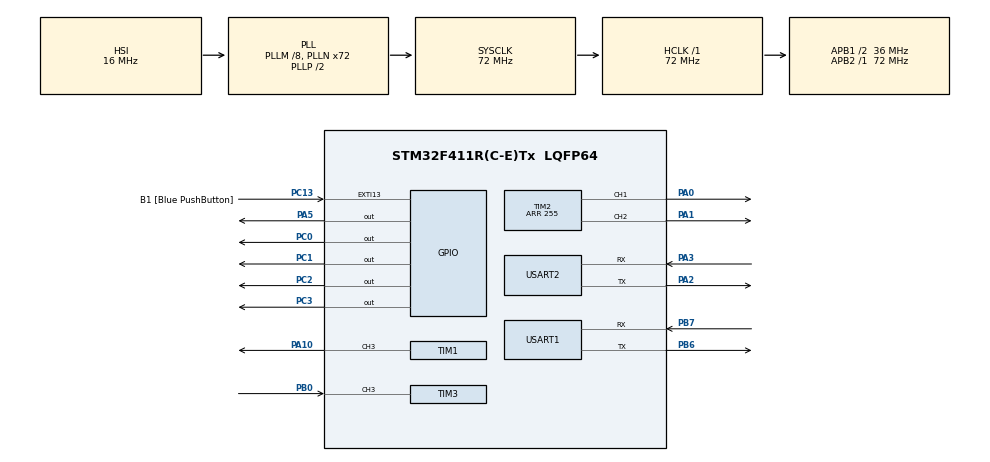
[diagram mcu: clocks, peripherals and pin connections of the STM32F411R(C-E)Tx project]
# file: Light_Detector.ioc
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Mcu.Family=STM32F4
Mcu.Name=STM32F411R(C-E)Tx
Mcu.Package=LQFP64
NVIC.PriorityGroup=NVIC_PRIORITYGROUP_0
NVIC.TIM3_IRQn=true\:0\:0\:false\:false\:true\:true\:true
PA0-WKUP.Signal=S_TIM2_CH1_ETR
PA1.Signal=S_TIM2_CH2
PA10.Signal=S_TIM1_CH3
PA13.GPIO_Label=TMS
PA13.Mode=Serial_Wire
PA13.Signal=SYS_JTMS-SWDIO
PA14.GPIO_Label=TCK
PA14.Mode=Serial_Wire
PA14.Signal=SYS_JTCK-SWCLK
PA2.Mode=Asynchronous
PA2.Signal=USART2_TX
PA3.Mode=Asynchronous
PA3.Signal=USART2_RX
PA5.Signal=GPIO_Output
PB0.Signal=S_TIM3_CH3
PB3.GPIO_Label=SWO
PB3.Signal=SYS_JTDO-SWO
PB6.Mode=Asynchronous
PB6.Signal=USART1_TX
PB7.Mode=Asynchronous
PB7.Signal=USART1_RX
PB9.Signal=S_TIM4_CH4
PC0.Signal=GPIO_Output
PC1.Signal=GPIO_Output
PC13-ANTI_TAMP.GPIO_Label=B1 [Blue PushButton]
PC13-ANTI_TAMP.GPIO_ModeDefaultEXTI=GPIO_MODE_IT_FALLING
PC13-ANTI_TAMP.Signal=GPXTI13
PC2.Signal=GPIO_Output
PC3.Signal=GPIO_Output
ProjectManager.HeapSize=0x200
ProjectManager.StackSize=0x400
ProjectManager.TargetToolchain=STM32CubeIDE
RCC.48MHZClocksFreq_Value=36000000
RCC.AHBFreq_Value=72000000
RCC.APB1CLKDivider=RCC_HCLK_DIV2
RCC.APB1Freq_Value=36000000
RCC.APB1TimFreq_Value=72000000
RCC.APB2Freq_Value=72000000
RCC.APB2TimFreq_Value=72000000
RCC.CortexFreq_Value=72000000
RCC.FLatency-AdvancedSettings=FLASH_LATENCY_2
RCC.HCLKFreq_Value=72000000
RCC.HSE_VALUE=8000000
RCC.HSI_VALUE=16000000
RCC.LSE_VALUE=32768
RCC.PLLM=8
RCC.PLLN=72
RCC.SYSCLKFreq_VALUE=72000000
RCC.SYSCLKSource=RCC_SYSCLKSOURCE_PLLCLK
RCC.VCOOutputFreq_Value=144000000
SH.S_TIM1_CH3.0=TIM1_CH3,PWM Generation3 CH3
SH.S_TIM2_CH1_ETR.0=TIM2_CH1,PWM Generation1 CH1
SH.S_TIM2_CH2.0=TIM2_CH2,PWM Generation2 CH2
SH.S_TIM3_CH3.0=TIM3_CH3,Input_Capture3_from_TI3
SH.S_TIM4_CH4.0=TIM4_CH4
TIM1.Channel-PWM\ Generation3\ CH3=TIM_CHANNEL_3
TIM1.Period=255
TIM2.Channel-PWM\ Generation1\ CH1=TIM_CHANNEL_1
TIM2.Channel-PWM\ Generation2\ CH2=TIM_CHANNEL_2
TIM2.Period=255
TIM3.AutoReloadPreload=TIM_AUTORELOAD_PRELOAD_ENABLE
TIM3.Channel-Input_Capture3_from_TI3=TIM_CHANNEL_3
USART1.VirtualMode=VM_ASYNC
USART1.WordLength=WORDLENGTH_8B
USART2.VirtualMode=VM_ASYNC
VP_TIM1_VS_ClockSourceINT.Mode=Internal
VP_TIM2_VS_ClockSourceINT.Mode=Internal
VP_TIM3_VS_ClockSourceINT.Mode=Internal
board=NUCLEO-F411RE

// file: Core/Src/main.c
/* USER CODE BEGIN Header */
/**
  ******************************************************************************
  * @file           : main.c
  * @brief          : Main program body
  ******************************************************************************
  * @attention
  *
  * <h2><center>&copy; Copyright (c) 2021 STMicroelectronics.
  * All rights reserved.</center></h2>
  *
  * This software component is licensed by ST under BSD 3-Clause license,
  * the "License"; You may not use this file except in compliance with the
  * License. You may obtain a copy of the License at:
  *                        opensource.org/licenses/BSD-3-Clause
  *
  ******************************************************************************
  */
/* USER CODE END Header */
#include "main.h"

/* USER CODE BEGIN Includes */

//#include "tcs3200.h"

/* USER CODE END Includes */

TIM_HandleTypeDef htim1;
TIM_HandleTypeDef htim2;
TIM_HandleTypeDef htim3;

UART_HandleTypeDef huart1;
UART_HandleTypeDef huart2;

void SystemClock_Config(void);
static void MX_GPIO_Init(void);
static void MX_TIM2_Init(void);
static void MX_TIM1_Init(void);
static void MX_USART1_UART_Init(void);
static void MX_USART2_UART_Init(void);
static void MX_TIM3_Init(void);

/* USER CODE BEGIN 0 */

#define MIN_RED 14218.0
#define MAX_RED 114285.0
#define MIN_GREEN 10967.0
#define MAX_GREEN 108270.0
#define MIN_BLUE 12998.0
#define MAX_BLUE 135084.0
#define F_CLK 72000000

int ch = 0;
char buffer[100];
int colorRed, colorGreen, colorBlue;
uint32_t IC_Val1, IC_Val2, Freq;
int Is_First_Capture;

/* USER CODE END 0 */

int main(void)
{

  /* MCU Configuration--------------------------------------------------------*/

  /* Reset of all peripherals, Initializes the Flash interface and the Systick. */
  HAL_Init();

  /* Configure the system clock */
  SystemClock_Config();

  /* Initialize all configured peripherals */
  MX_GPIO_Init();
  MX_TIM2_Init();
  MX_TIM1_Init();
  MX_USART1_UART_Init();
  MX_USART2_UART_Init();
  MX_TIM3_Init();
  /* USER CODE BEGIN 2 */
  HAL_TIM_IC_Start_IT(&htim3, TIM_CHANNEL_3);

  HAL_TIM_PWM_Start(&htim2, TIM_CHANNEL_1);	//Red
  HAL_TIM_PWM_Start(&htim2, TIM_CHANNEL_2);	//Green
  HAL_TIM_PWM_Start(&htim1, TIM_CHANNEL_3);	//Blue

  //Set_Filter(Clear);
  //Set_Scaling(Scl100);

  colorRed = 0;
  colorGreen = 0;
  colorBlue = 0;

  IC_Val1 = 0;
  IC_Val2 = 0;
  Freq = 0;
  Is_First_Capture = 0;

  HAL_GPIO_WritePin(GPIOC, GPIO_PIN_0, GPIO_PIN_SET);
  HAL_GPIO_WritePin(GPIOC, GPIO_PIN_1, GPIO_PIN_SET);

  TIM2->CCR1 = 242;
  TIM2->CCR2 = 185;
  TIM1->CCR3 = 150;
  /* USER CODE END 2 */

  /* Infinite loop */
  while (1)
  {

    /* USER CODE BEGIN 3 */
	  //Reset color value
	  colorRed = 0;
	  colorGreen = 0;
	  colorBlue = 0;

	  //Get Red value
	  HAL_GPIO_WritePin(GPIOC, GPIO_PIN_2, GPIO_PIN_RESET);
	  HAL_GPIO_WritePin(GPIOC, GPIO_PIN_3, GPIO_PIN_RESET);
	  HAL_Delay(10);
	  colorRed = (255.0/(MAX_RED-MIN_RED))*(Freq-MIN_RED);

	  //Get Green Value
	  HAL_GPIO_WritePin(GPIOC, GPIO_PIN_2, GPIO_PIN_SET);
	  HAL_GPIO_WritePin(GPIOC, GPIO_PIN_3, GPIO_PIN_SET);
	  HAL_Delay(10);
	  colorGreen = (255.0/(MAX_GREEN-MIN_GREEN))*(Freq-MIN_GREEN);

	  //Get Blue Value
	  HAL_GPIO_WritePin(GPIOC, GPIO_PIN_2, GPIO_PIN_RESET);
	  HAL_GPIO_WritePin(GPIOC, GPIO_PIN_3, GPIO_PIN_SET);
	  HAL_Delay(10);
	  colorBlue = (255.0/(MAX_BLUE-MIN_BLUE))*(Freq-MIN_BLUE);

	  //Value Correction
	  if(colorRed > 255)	colorRed = 255;
	  if(colorRed < 0)		colorRed = 0;
	  if(colorGreen > 255)	colorGreen = 255;
	  if(colorGreen < 0)	colorGreen = 0;
	  if(colorBlue > 255)	colorBlue = 255;
	  if(colorBlue < 0)		colorBlue = 0;

	  TIM2->CCR1 = colorRed;
	  TIM2->CCR2 = colorGreen;
	  TIM1->CCR3 = colorBlue;

	  //sprintf(buffer, "%d,%d,%d", colorRed,colorGreen,colorBlue);
	  //HAL_UART_Transmit(&huart1, &buffer, strlen(buffer), 100);

	  if(HAL_GPIO_ReadPin(GPIOC, GPIO_PIN_13) == GPIO_PIN_RESET && ch == 0){
		  ch = 1;

		  sprintf(buffer, "%d,%d,%d", colorRed,colorGreen,colorBlue);
		  HAL_UART_Transmit(&huart1, &buffer, strlen(buffer), 100);

		  /*
		  sprintf(buffer, "%d", colorGreen);
		  HAL_UART_Transmit(&huart1, &buffer, strlen(buffer), 100);
		  sprintf(buffer, "%d", colorBlue);
		  HAL_UART_Transmit(&huart1, &buffer, strlen(buffer), 100);
			*/
		  //char c = '0';
		  //HAL_UART_Transmit(&huart1, &c, strlen(c), 100);

	  } else if (HAL_GPIO_ReadPin(GPIOC, GPIO_PIN_13) ==  GPIO_PIN_SET){
		  ch = 0;
	  }

	  //while(1){
	  // RED

	  //colorRed = Freq;
	  //HAL_Delay(100);

	  // GREEN

	  //colorGreen = Freq;
	  //HAL_Delay(100);

	  // Blue

	  //colorBlue = Freq;
	  //HAL_Delay(100);

	  /*

	  colorRed = GetColor(1);
	  colorGreen = GetColor(2);
	  colorBlue = GetColor(3);

	  //int temp = GetColor(1);
	  //sprintf(buffer, "%d\r\n", temp);

	  */
	  /*
	  for(int i = 0;i<255;i++){
		  TIM2->CCR1 = i;
		  HAL_Delay(1);
	  }
	  TIM2->CCR1 = 0;
	  TIM2->CCR2 = 0;
	  TIM1->CCR3 = 0;
	  for(int i = 0;i<255;i++){
		  TIM2->CCR2 = i;
		  HAL_Delay(1);
	  }
	  TIM2->CCR1 = 0;
	  TIM2->CCR2 = 0;
	  TIM1->CCR3 = 0;
	  for(int i = 0;i<255;i++){
		  TIM1->CCR3 = i;
		  HAL_Delay(1);
	  }
	  */

  }
  /* USER CODE END 3 */
}

void SystemClock_Config(void)
{
  RCC_OscInitTypeDef RCC_OscInitStruct = {0};
  RCC_ClkInitTypeDef RCC_ClkInitStruct = {0};

  /** Configure the main internal regulator output voltage
  */
  __HAL_RCC_PWR_CLK_ENABLE();
  __HAL_PWR_VOLTAGESCALING_CONFIG(PWR_REGULATOR_VOLTAGE_SCALE1);
  /** Initializes the RCC Oscillators according to the specified parameters
  * in the RCC_OscInitTypeDef structure.
  */
  RCC_OscInitStruct.OscillatorType = RCC_OSCILLATORTYPE_HSI;
  RCC_OscInitStruct.HSIState = RCC_HSI_ON;
  RCC_OscInitStruct.HSICalibrationValue = RCC_HSICALIBRATION_DEFAULT;
  RCC_OscInitStruct.PLL.PLLState = RCC_PLL_ON;
  RCC_OscInitStruct.PLL.PLLSource = RCC_PLLSOURCE_HSI;
  RCC_OscInitStruct.PLL.PLLM = 8;
  RCC_OscInitStruct.PLL.PLLN = 72;
  RCC_OscInitStruct.PLL.PLLP = RCC_PLLP_DIV2;
  RCC_OscInitStruct.PLL.PLLQ = 4;
  if (HAL_RCC_OscConfig(&RCC_OscInitStruct) != HAL_OK)
  {
    Error_Handler();
  }
  /** Initializes the CPU, AHB and APB buses clocks
  */
  RCC_ClkInitStruct.ClockType = RCC_CLOCKTYPE_HCLK|RCC_CLOCKTYPE_SYSCLK
                              |RCC_CLOCKTYPE_PCLK1|RCC_CLOCKTYPE_PCLK2;
  RCC_ClkInitStruct.SYSCLKSource = RCC_SYSCLKSOURCE_PLLCLK;
  RCC_ClkInitStruct.AHBCLKDivider = RCC_SYSCLK_DIV1;
  RCC_ClkInitStruct.APB1CLKDivider = RCC_HCLK_DIV2;
  RCC_ClkInitStruct.APB2CLKDivider = RCC_HCLK_DIV1;

  if (HAL_RCC_ClockConfig(&RCC_ClkInitStruct, FLASH_LATENCY_2) != HAL_OK)
  {
    Error_Handler();
  }
}

static void MX_TIM1_Init(void)
{

  TIM_ClockConfigTypeDef sClockSourceConfig = {0};
  TIM_MasterConfigTypeDef sMasterConfig = {0};
  TIM_OC_InitTypeDef sConfigOC = {0};
  TIM_BreakDeadTimeConfigTypeDef sBreakDeadTimeConfig = {0};

  htim1.Instance = TIM1;
  htim1.Init.Prescaler = 0;
  htim1.Init.CounterMode = TIM_COUNTERMODE_UP;
  htim1.Init.Period = 255;
  htim1.Init.ClockDivision = TIM_CLOCKDIVISION_DIV1;
  htim1.Init.RepetitionCounter = 0;
  htim1.Init.AutoReloadPreload = TIM_AUTORELOAD_PRELOAD_DISABLE;
  if (HAL_TIM_Base_Init(&htim1) != HAL_OK)
  {
    Error_Handler();
  }
  sClockSourceConfig.ClockSource = TIM_CLOCKSOURCE_INTERNAL;
  if (HAL_TIM_ConfigClockSource(&htim1, &sClockSourceConfig) != HAL_OK)
  {
    Error_Handler();
  }
  if (HAL_TIM_PWM_Init(&htim1) != HAL_OK)
  {
    Error_Handler();
  }
  sMasterConfig.MasterOutputTrigger = TIM_TRGO_RESET;
  sMasterConfig.MasterSlaveMode = TIM_MASTERSLAVEMODE_DISABLE;
  if (HAL_TIMEx_MasterConfigSynchronization(&htim1, &sMasterConfig) != HAL_OK)
  {
    Error_Handler();
  }
  sConfigOC.OCMode = TIM_OCMODE_PWM1;
  sConfigOC.Pulse = 0;
  sConfigOC.OCPolarity = TIM_OCPOLARITY_HIGH;
  sConfigOC.OCNPolarity = TIM_OCNPOLARITY_HIGH;
  sConfigOC.OCFastMode = TIM_OCFAST_DISABLE;
  sConfigOC.OCIdleState = TIM_OCIDLESTATE_RESET;
  sConfigOC.OCNIdleState = TIM_OCNIDLESTATE_RESET;
  if (HAL_TIM_PWM_ConfigChannel(&htim1, &sConfigOC, TIM_CHANNEL_3) != HAL_OK)
  {
    Error_Handler();
  }
  sBreakDeadTimeConfig.OffStateRunMode = TIM_OSSR_DISABLE;
  sBreakDeadTimeConfig.OffStateIDLEMode = TIM_OSSI_DISABLE;
  sBreakDeadTimeConfig.LockLevel = TIM_LOCKLEVEL_OFF;
  sBreakDeadTimeConfig.DeadTime = 0;
  sBreakDeadTimeConfig.BreakState = TIM_BREAK_DISABLE;
  sBreakDeadTimeConfig.BreakPolarity = TIM_BREAKPOLARITY_HIGH;
  sBreakDeadTimeConfig.AutomaticOutput = TIM_AUTOMATICOUTPUT_DISABLE;
  if (HAL_TIMEx_ConfigBreakDeadTime(&htim1, &sBreakDeadTimeConfig) != HAL_OK)
  {
    Error_Handler();
  }
  HAL_TIM_MspPostInit(&htim1);

}

static void MX_TIM2_Init(void)
{

  TIM_ClockConfigTypeDef sClockSourceConfig = {0};
  TIM_MasterConfigTypeDef sMasterConfig = {0};
  TIM_OC_InitTypeDef sConfigOC = {0};

  htim2.Instance = TIM2;
  htim2.Init.Prescaler = 0;
  htim2.Init.CounterMode = TIM_COUNTERMODE_UP;
  htim2.Init.Period = 255;
  htim2.Init.ClockDivision = TIM_CLOCKDIVISION_DIV1;
  htim2.Init.AutoReloadPreload = TIM_AUTORELOAD_PRELOAD_DISABLE;
  if (HAL_TIM_Base_Init(&htim2) != HAL_OK)
  {
    Error_Handler();
  }
  sClockSourceConfig.ClockSource = TIM_CLOCKSOURCE_INTERNAL;
  if (HAL_TIM_ConfigClockSource(&htim2, &sClockSourceConfig) != HAL_OK)
  {
    Error_Handler();
  }
  if (HAL_TIM_PWM_Init(&htim2) != HAL_OK)
  {
    Error_Handler();
  }
  sMasterConfig.MasterOutputTrigger = TIM_TRGO_RESET;
  sMasterConfig.MasterSlaveMode = TIM_MASTERSLAVEMODE_DISABLE;
  if (HAL_TIMEx_MasterConfigSynchronization(&htim2, &sMasterConfig) != HAL_OK)
  {
    Error_Handler();
  }
  sConfigOC.OCMode = TIM_OCMODE_PWM1;
  sConfigOC.Pulse = 0;
  sConfigOC.OCPolarity = TIM_OCPOLARITY_HIGH;
  sConfigOC.OCFastMode = TIM_OCFAST_DISABLE;
  if (HAL_TIM_PWM_ConfigChannel(&htim2, &sConfigOC, TIM_CHANNEL_1) != HAL_OK)
  {
    Error_Handler();
  }
  if (HAL_TIM_PWM_ConfigChannel(&htim2, &sConfigOC, TIM_CHANNEL_2) != HAL_OK)
  {
    Error_Handler();
  }
  HAL_TIM_MspPostInit(&htim2);

}

static void MX_TIM3_Init(void)
{

  TIM_ClockConfigTypeDef sClockSourceConfig = {0};
  TIM_MasterConfigTypeDef sMasterConfig = {0};
  TIM_IC_InitTypeDef sConfigIC = {0};

  htim3.Instance = TIM3;
  htim3.Init.Prescaler = 0;
  htim3.Init.CounterMode = TIM_COUNTERMODE_UP;
  htim3.Init.Period = 65535;
  htim3.Init.ClockDivision = TIM_CLOCKDIVISION_DIV1;
  htim3.Init.AutoReloadPreload = TIM_AUTORELOAD_PRELOAD_ENABLE;
  if (HAL_TIM_Base_Init(&htim3) != HAL_OK)
  {
    Error_Handler();
  }
  sClockSourceConfig.ClockSource = TIM_CLOCKSOURCE_INTERNAL;
  if (HAL_TIM_ConfigClockSource(&htim3, &sClockSourceConfig) != HAL_OK)
  {
    Error_Handler();
  }
  if (HAL_TIM_IC_Init(&htim3) != HAL_OK)
  {
    Error_Handler();
  }
  sMasterConfig.MasterOutputTrigger = TIM_TRGO_RESET;
  sMasterConfig.MasterSlaveMode = TIM_MASTERSLAVEMODE_DISABLE;
  if (HAL_TIMEx_MasterConfigSynchronization(&htim3, &sMasterConfig) != HAL_OK)
  {
    Error_Handler();
  }
  sConfigIC.ICPolarity = TIM_INPUTCHANNELPOLARITY_RISING;
  sConfigIC.ICSelection = TIM_ICSELECTION_DIRECTTI;
  sConfigIC.ICPrescaler = TIM_ICPSC_DIV1;
  sConfigIC.ICFilter = 0;
  if (HAL_TIM_IC_ConfigChannel(&htim3, &sConfigIC, TIM_CHANNEL_3) != HAL_OK)
  {
    Error_Handler();
  }

}

static void MX_USART1_UART_Init(void)
{

  huart1.Instance = USART1;
  huart1.Init.BaudRate = 115200;
  huart1.Init.WordLength = UART_WORDLENGTH_8B;
  huart1.Init.StopBits = UART_STOPBITS_1;
  huart1.Init.Parity = UART_PARITY_NONE;
  huart1.Init.Mode = UART_MODE_TX_RX;
  huart1.Init.HwFlowCtl = UART_HWCONTROL_NONE;
  huart1.Init.OverSampling = UART_OVERSAMPLING_16;
  if (HAL_UART_Init(&huart1) != HAL_OK)
  {
    Error_Handler();
  }

}

static void MX_USART2_UART_Init(void)
{

  huart2.Instance = USART2;
  huart2.Init.BaudRate = 115200;
  huart2.Init.WordLength = UART_WORDLENGTH_8B;
  huart2.Init.StopBits = UART_STOPBITS_1;
  huart2.Init.Parity = UART_PARITY_NONE;
  huart2.Init.Mode = UART_MODE_TX_RX;
  huart2.Init.HwFlowCtl = UART_HWCONTROL_NONE;
  huart2.Init.OverSampling = UART_OVERSAMPLING_16;
  if (HAL_UART_Init(&huart2) != HAL_OK)
  {
    Error_Handler();
  }

}

static void MX_GPIO_Init(void)
{
  GPIO_InitTypeDef GPIO_InitStruct = {0};

  /* GPIO Ports Clock Enable */
  __HAL_RCC_GPIOC_CLK_ENABLE();
  __HAL_RCC_GPIOA_CLK_ENABLE();
  __HAL_RCC_GPIOB_CLK_ENABLE();

  /*Configure GPIO pin Output Level */
  HAL_GPIO_WritePin(GPIOC, GPIO_PIN_0|GPIO_PIN_1|GPIO_PIN_2|GPIO_PIN_3, GPIO_PIN_RESET);

  /*Configure GPIO pin Output Level */
  HAL_GPIO_WritePin(GPIOA, GPIO_PIN_5, GPIO_PIN_RESET);

  /*Configure GPIO pin : B1_Pin */
  GPIO_InitStruct.Pin = B1_Pin;
  GPIO_InitStruct.Mode = GPIO_MODE_IT_FALLING;
  GPIO_InitStruct.Pull = GPIO_NOPULL;
  HAL_GPIO_Init(B1_GPIO_Port, &GPIO_InitStruct);

  /*Configure GPIO pins : PC0 PC1 PC2 PC3 */
  GPIO_InitStruct.Pin = GPIO_PIN_0|GPIO_PIN_1|GPIO_PIN_2|GPIO_PIN_3;
  GPIO_InitStruct.Mode = GPIO_MODE_OUTPUT_PP;
  GPIO_InitStruct.Pull = GPIO_NOPULL;
  GPIO_InitStruct.Speed = GPIO_SPEED_FREQ_LOW;
  HAL_GPIO_Init(GPIOC, &GPIO_InitStruct);

  /*Configure GPIO pin : PA5 */
  GPIO_InitStruct.Pin = GPIO_PIN_5;
  GPIO_InitStruct.Mode = GPIO_MODE_OUTPUT_PP;
  GPIO_InitStruct.Pull = GPIO_NOPULL;
  GPIO_InitStruct.Speed = GPIO_SPEED_FREQ_LOW;
  HAL_GPIO_Init(GPIOA, &GPIO_InitStruct);

  /*Configure GPIO pin : PB9 */
  GPIO_InitStruct.Pin = GPIO_PIN_9;
  GPIO_InitStruct.Mode = GPIO_MODE_AF_PP;
  GPIO_InitStruct.Pull = GPIO_NOPULL;
  GPIO_InitStruct.Speed = GPIO_SPEED_FREQ_LOW;
  GPIO_InitStruct.Alternate = GPIO_AF2_TIM4;
  HAL_GPIO_Init(GPIOB, &GPIO_InitStruct);

}

/* USER CODE BEGIN 4 */

void HAL_TIM_IC_CaptureCallback(TIM_HandleTypeDef *htim){
	if(htim->Channel == HAL_TIM_ACTIVE_CHANNEL_3){
		if(Is_First_Capture == 0){
			IC_Val1 = HAL_TIM_ReadCapturedValue(&htim3, TIM_CHANNEL_3);
			Is_First_Capture = 1;

		} else if(Is_First_Capture == 1){
			IC_Val2 = HAL_TIM_ReadCapturedValue(&htim3, TIM_CHANNEL_3);
			if(IC_Val2 > IC_Val1){
				Freq = F_CLK/(IC_Val2 - IC_Val1);
			}
			Is_First_Capture = 0;
		}
	}
}

/* USER CODE END 4 */

void Error_Handler(void)
{
  __disable_irq();
  while (1)
  {
  }
}

/************************ (C) COPYRIGHT STMicroelectronics *****END OF FILE****/
